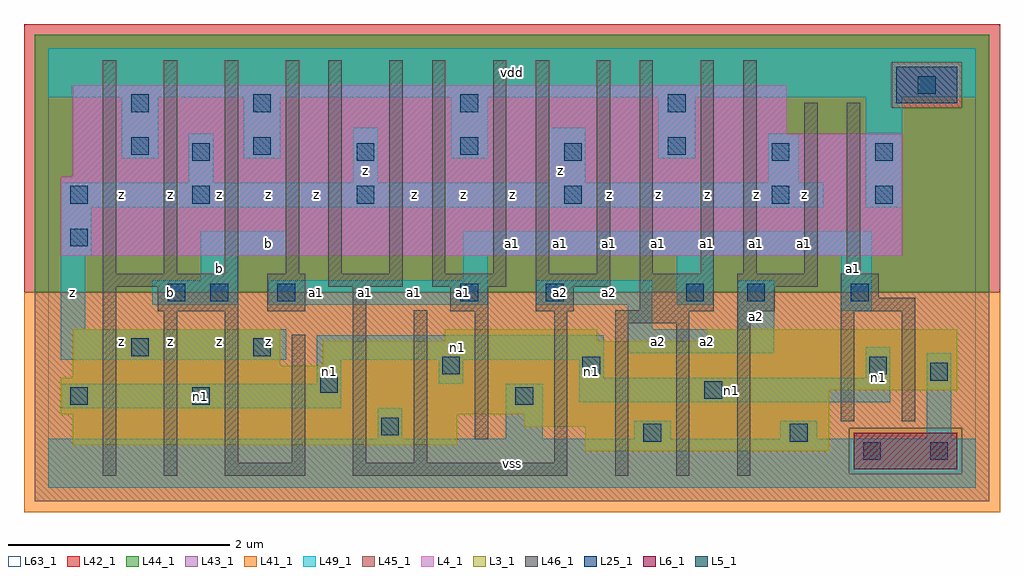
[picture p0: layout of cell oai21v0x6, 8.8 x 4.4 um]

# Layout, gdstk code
import gdstk
lib = gdstk.Library(unit=1e-6, precision=1e-09)
def R(c, l, rs):  # rectangles x0, y0, x1, y1
    for r in rs: c.add(gdstk.rectangle(r[:2], r[2:], *l))
def A(c, l, x, y, w, h, nx, ny, dx, dy):  # array of equal rectangles
    R(c, l, [(x+i*dx, y+j*dy, x+i*dx+w, y+j*dy+h) for i in range(nx) for j in range(ny)])
L3_1 = (3, 1)
L4_1 = (4, 1)
L5_1 = (5, 1)
L6_1 = (6, 1)
L25_1 = (25, 1)
L41_1 = (41, 1)
L42_1 = (42, 1)
L43_1 = (43, 1)
L44_1 = (44, 1)
L45_1 = (45, 1)
L46_1 = (46, 1)
L49_1 = (49, 1)
L63_1 = (63, 1)

oai21v0x6 = lib.new_cell('oai21v0x6')
R(oai21v0x6, L3_1, [(4.84,0.33,7.04,0.55), (0.22,0.385,3.685,0.66), (4.29,0.55,7.04,0.66), (0.11,0.66,7.04,0.88), (0.11,0.88,8.195,0.99), (0.22,0.99,8.195,1.1), (0.22,1.1,2.09,1.43), (2.475,1.1,8.195,1.32), (3.575,1.32,4.95,1.43), (5.94,1.32,8.195,1.43)])
R(oai21v0x6, L4_1, [(0.11,2.09,7.7,2.805), (0.22,2.805,7.7,3.19), (0.22,3.19,6.655,3.63)])
R(oai21v0x6, L5_1, [(7.645,3.465,8.195,3.795)])
R(oai21v0x6, L6_1, [(7.26,0.165,8.195,0.495)])
A(oai21v0x6, L25_1, 2.78, 2.56, 0.16, 0.16, 3, 2, 1.87, 0.385)
A(oai21v0x6, L25_1, 1.845, 3, 0.16, 0.16, 3, 2, 1.87, 0.385)
R(oai21v0x6, L25_1, [(7.345,0.25,7.505,0.41), (7.95,0.25,8.11,0.41), (5.365,0.415,5.525,0.575), (6.685,0.415,6.845,0.575), (3,0.47,3.16,0.63), (0.195,0.745,0.355,0.905), (1.295,0.745,1.455,0.905), (4.21,0.745,4.37,0.905), (5.915,0.8,6.075,0.96), (2.45,0.855,2.61,1.015), (7.95,0.965,8.11,1.125), (3.55,1.02,3.71,1.18), (4.815,1.02,4.975,1.18), (7.4,1.02,7.56,1.18), (0.745,1.185,0.905,1.345), (1.845,1.185,2.005,1.345), (1.075,1.68,1.235,1.84), (1.46,1.68,1.62,1.84), (2.065,1.68,2.225,1.84), (3.715,1.68,3.875,1.84), (4.485,1.68,4.645,1.84), (5.75,1.68,5.91,1.84), (6.3,1.68,6.46,1.84), (7.235,1.68,7.395,1.84), (0.195,2.175,0.355,2.335), (0.195,2.56,0.355,2.72), (1.295,2.56,1.455,2.72), (7.455,2.56,7.615,2.72), (1.295,2.945,1.455,3.105), (7.455,2.945,7.615,3.105), (0.745,3,0.905,3.16), (0.745,3.385,0.905,3.545), (7.84,3.55,8,3.71)])
R(oai21v0x6, L41_1, [(-0.22,-0.22,8.58,1.76)])
R(oai21v0x6, L42_1, [(-0.22,1.76,8.58,4.18)])
R(oai21v0x6, L43_1, [(7.26,0.165,8.195,0.495), (4.84,0.33,7.04,0.55), (0.22,0.385,3.685,0.66), (4.29,0.55,7.04,0.66), (0.11,0.66,7.04,0.88), (0.11,0.88,8.195,0.99), (0.22,0.99,8.195,1.1), (0.22,1.1,2.09,1.43), (2.475,1.1,8.195,1.32), (3.575,1.32,4.95,1.43), (5.94,1.32,8.195,1.43), (0.11,2.09,7.7,2.805), (0.22,2.805,7.7,3.19), (0.22,3.19,6.655,3.63), (7.645,3.465,8.195,3.795)])
R(oai21v0x6, L44_1, [(7.22,0.125,8.235,0.535), (-0.125,1.76,8.485,3.425), (-0.125,3.425,7.605,3.835), (8.235,3.425,8.485,3.835), (-0.125,3.835,8.485,4.085)])
R(oai21v0x6, L45_1, [(-0.125,-0.125,8.485,0.125), (-0.125,0.125,7.22,0.535), (8.235,0.125,8.485,0.535), (-0.125,0.535,8.485,1.76), (7.605,3.425,8.235,3.835)])
A(oai21v0x6, L46_1, 2.525, 1.81, 0.67, 0.12, 3, 1, 0.935, 0)
A(oai21v0x6, L46_1, 0.49, 1.93, 0.12, 1.925, 4, 1, 0.55, 0)
R(oai21v0x6, L46_1, [(0.49,0.105,0.61,1.81), (1.04,0.105,1.16,1.59), (1.59,0.105,2.315,0.225), (2.745,0.105,4.68,0.225), (5.11,0.105,5.23,1.48), (5.66,0.105,5.78,1.48), (6.21,0.105,6.33,1.59), (1.59,0.225,1.71,1.59), (2.195,0.225,2.315,1.38), (2.745,0.225,2.865,1.81), (3.295,0.225,3.415,1.6), (4.56,0.225,4.68,1.59), (3.845,0.435,3.965,1.59), (7.145,0.6,7.265,1.59), (7.695,0.6,7.815,1.59), (5.11,1.48,5.78,1.59), (0.985,1.59,1.71,1.81), (1.975,1.59,2.315,1.93), (3.625,1.59,3.965,1.81), (4.395,1.59,4.735,1.81), (5.11,1.59,6,1.6), (6.21,1.59,6.55,1.81), (7.145,1.59,7.815,1.71), (5.33,1.6,6,1.93), (7.145,1.71,7.485,1.93), (0.49,1.81,1.71,1.93), (6.21,1.81,6.935,1.93), (2.525,1.93,2.645,3.855), (3.075,1.93,3.195,3.855), (3.46,1.93,3.58,3.855), (4.01,1.93,4.13,3.855), (4.395,1.93,4.515,3.855), (4.945,1.93,5.065,3.855), (5.33,1.93,5.45,3.855), (5.88,1.93,6,3.855), (6.265,1.93,6.385,3.855), (6.815,1.93,6.935,3.47), (7.2,1.93,7.32,3.47)])
A(oai21v0x6, L49_1, 1.76, 2.97, 0.33, 0.55, 3, 1, 1.87, 0)
R(oai21v0x6, L49_1, [(0,0,8.36,0.44), (2.97,0.44,3.19,0.715), (4.125,0.44,4.455,0.935), (5.28,0.44,5.61,0.605), (6.6,0.44,6.93,0.605), (7.92,0.44,8.14,1.21), (0.11,0.715,2.64,0.935), (4.785,0.77,7.59,0.99), (2.42,0.935,2.64,1.155), (3.52,0.935,3.74,1.155), (4.785,0.99,5.005,1.155), (7.37,0.99,7.59,1.265), (0.11,1.155,2.145,1.43), (2.42,1.155,5.005,1.375), (5.225,1.21,6.545,1.43), (0.11,1.43,0.33,2.09), (5.225,1.43,5.445,1.65), (6.215,1.43,6.545,1.87), (7.15,1.595,7.425,2.09), (0.935,1.65,1.705,1.87), (1.98,1.65,3.96,1.87), (4.4,1.65,5.445,1.87), (5.665,1.65,5.995,2.09), (1.375,1.87,1.705,2.09), (3.74,1.87,3.96,2.09), (0.11,2.09,0.385,2.53), (1.375,2.09,2.145,2.31), (3.74,2.09,7.425,2.31), (0.11,2.53,6.985,2.75), (7.37,2.53,7.7,3.52), (1.265,2.75,1.485,3.19), (2.75,2.75,2.97,3.245), (4.51,2.75,4.84,3.245), (6.49,2.75,6.765,3.19), (0.66,2.97,0.99,3.52), (0,3.52,8.36,3.96)])
R(oai21v0x6, L63_1, [(0,0,8.36,3.96)])
oai21v0x6.add(gdstk.Label('z', (1.1,1.32), layer=49, texttype=1))
oai21v0x6.add(gdstk.Label('z', (0.66,1.32), layer=49, texttype=1))
oai21v0x6.add(gdstk.Label('z', (0.22,1.76), layer=49, texttype=1))
oai21v0x6.add(gdstk.Label('b', (1.1,1.76), layer=49, texttype=1))
oai21v0x6.add(gdstk.Label('z', (1.1,2.64), layer=49, texttype=1))
oai21v0x6.add(gdstk.Label('z', (0.66,2.64), layer=49, texttype=1))
oai21v0x6.add(gdstk.Label('n1', (2.53,1.045), layer=49, texttype=1))
oai21v0x6.add(gdstk.Label('n1', (1.375,0.825), layer=49, texttype=1))
oai21v0x6.add(gdstk.Label('z', (1.54,1.32), layer=49, texttype=1))
oai21v0x6.add(gdstk.Label('z', (1.98,1.32), layer=49, texttype=1))
oai21v0x6.add(gdstk.Label('a1', (2.86,1.76), layer=49, texttype=1))
oai21v0x6.add(gdstk.Label('a1', (2.42,1.76), layer=49, texttype=1))
oai21v0x6.add(gdstk.Label('b', (1.54,1.98), layer=49, texttype=1))
oai21v0x6.add(gdstk.Label('b', (1.98,2.2), layer=49, texttype=1))
oai21v0x6.add(gdstk.Label('z', (1.54,2.64), layer=49, texttype=1))
oai21v0x6.add(gdstk.Label('z', (2.86,2.86), layer=49, texttype=1))
oai21v0x6.add(gdstk.Label('z', (2.42,2.64), layer=49, texttype=1))
oai21v0x6.add(gdstk.Label('z', (1.98,2.64), layer=49, texttype=1))
oai21v0x6.add(gdstk.Label('vss', (4.18,0.22), layer=49, texttype=1))
oai21v0x6.add(gdstk.Label('n1', (4.895,1.045), layer=49, texttype=1))
oai21v0x6.add(gdstk.Label('n1', (3.685,1.265), layer=49, texttype=1))
oai21v0x6.add(gdstk.Label('a2', (4.62,1.76), layer=49, texttype=1))
oai21v0x6.add(gdstk.Label('a1', (3.74,1.76), layer=49, texttype=1))
oai21v0x6.add(gdstk.Label('a1', (3.3,1.76), layer=49, texttype=1))
oai21v0x6.add(gdstk.Label('a1', (4.62,2.2), layer=49, texttype=1))
oai21v0x6.add(gdstk.Label('a1', (4.18,2.2), layer=49, texttype=1))
oai21v0x6.add(gdstk.Label('z', (3.3,2.64), layer=49, texttype=1))
oai21v0x6.add(gdstk.Label('z', (4.62,2.86), layer=49, texttype=1))
oai21v0x6.add(gdstk.Label('z', (4.18,2.64), layer=49, texttype=1))
oai21v0x6.add(gdstk.Label('z', (3.74,2.64), layer=49, texttype=1))
oai21v0x6.add(gdstk.Label('vdd', (4.18,3.74), layer=49, texttype=1))
oai21v0x6.add(gdstk.Label('a2', (5.94,1.32), layer=49, texttype=1))
oai21v0x6.add(gdstk.Label('a2', (5.5,1.32), layer=49, texttype=1))
oai21v0x6.add(gdstk.Label('a2', (6.38,1.54), layer=49, texttype=1))
oai21v0x6.add(gdstk.Label('a2', (5.06,1.76), layer=49, texttype=1))
oai21v0x6.add(gdstk.Label('a1', (5.06,2.2), layer=49, texttype=1))
oai21v0x6.add(gdstk.Label('a1', (6.38,2.2), layer=49, texttype=1))
oai21v0x6.add(gdstk.Label('a1', (5.94,2.2), layer=49, texttype=1))
oai21v0x6.add(gdstk.Label('a1', (5.5,2.2), layer=49, texttype=1))
oai21v0x6.add(gdstk.Label('z', (5.06,2.64), layer=49, texttype=1))
oai21v0x6.add(gdstk.Label('z', (6.38,2.64), layer=49, texttype=1))
oai21v0x6.add(gdstk.Label('z', (5.94,2.64), layer=49, texttype=1))
oai21v0x6.add(gdstk.Label('z', (5.5,2.64), layer=49, texttype=1))
oai21v0x6.add(gdstk.Label('n1', (7.48,0.99), layer=49, texttype=1))
oai21v0x6.add(gdstk.Label('n1', (6.16,0.88), layer=49, texttype=1))
oai21v0x6.add(gdstk.Label('a1', (6.82,2.2), layer=49, texttype=1))
oai21v0x6.add(gdstk.Label('a1', (7.26,1.98), layer=49, texttype=1))
oai21v0x6.add(gdstk.Label('z', (6.82,2.64), layer=49, texttype=1))

lib.write_gds('oai21v0x6.gds')
